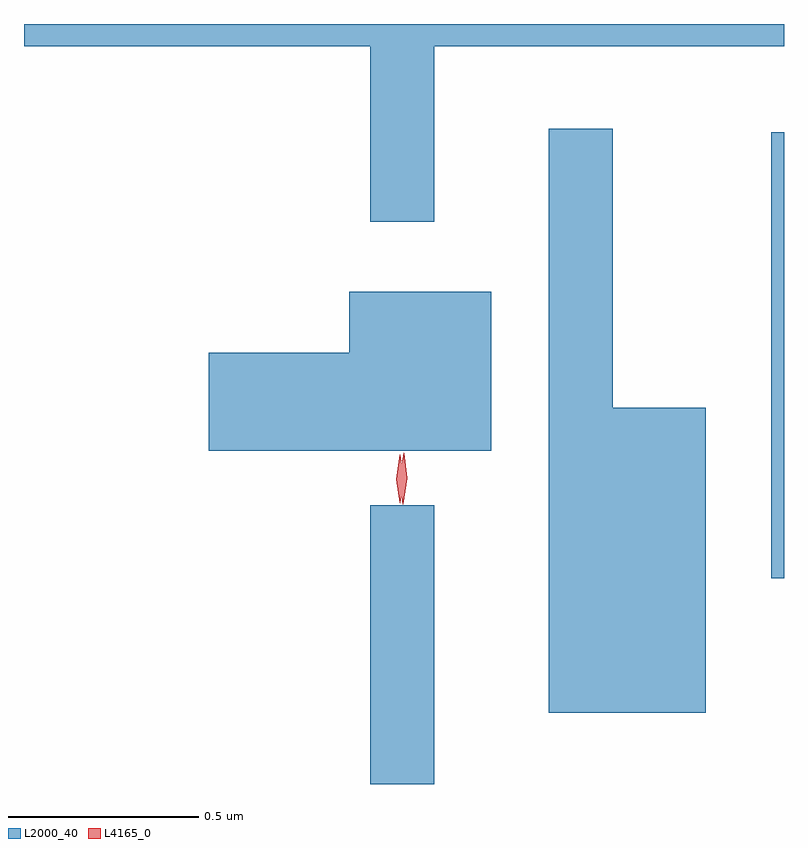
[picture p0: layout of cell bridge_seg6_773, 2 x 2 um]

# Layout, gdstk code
import gdstk
lib = gdstk.Library(unit=1e-6, precision=1e-09)
def R(c, l, rs):  # rectangles x0, y0, x1, y1
    for r in rs: c.add(gdstk.rectangle(r[:2], r[2:], *l))
def P(c, l, *ps):  # polygons
    for p in ps: c.add(gdstk.Polygon(p, *l))
L2000_40 = (2000, 40)
L4165_0 = (4165, 0)

bridge_seg6_773 = lib.new_cell('bridge_seg6_773')
R(bridge_seg6_773, L2000_40, [(496.921,1541.434,497.089,1542.168), (497.976,1541.976,498.01,1543.149)])
P(bridge_seg6_773, L2000_40, [(497.089,1543.376),(498.01,1543.376),(498.01,1543.434),(496.01,1543.434),(496.01,1543.376),(496.921,1543.376),(496.921,1542.913),(497.089,1542.913)],
  [(497.804,1542.424),(497.559,1542.424),(497.559,1543.158),(497.391,1543.158),(497.391,1541.621),(497.804,1541.621)],
  [(497.239,1542.729),(496.866,1542.729),(496.866,1542.569),(496.496,1542.569),(496.496,1542.311),(497.239,1542.311)])
P(bridge_seg6_773, L4165_0, [(497.007,1542.17),(497.007,1542.17),(496.998,1542.238),(497.009,1542.305),(497.009,1542.306),(497.01,1542.305),(497.018,1542.238),(497.008,1542.17)],
  [(497,1542.173),(496.999,1542.174),(496.989,1542.236),(496.999,1542.3),(496.999,1542.3),(497,1542.3),(497.009,1542.236),(497,1542.174)])

lib.write_gds('bridge_seg6_773.gds')
